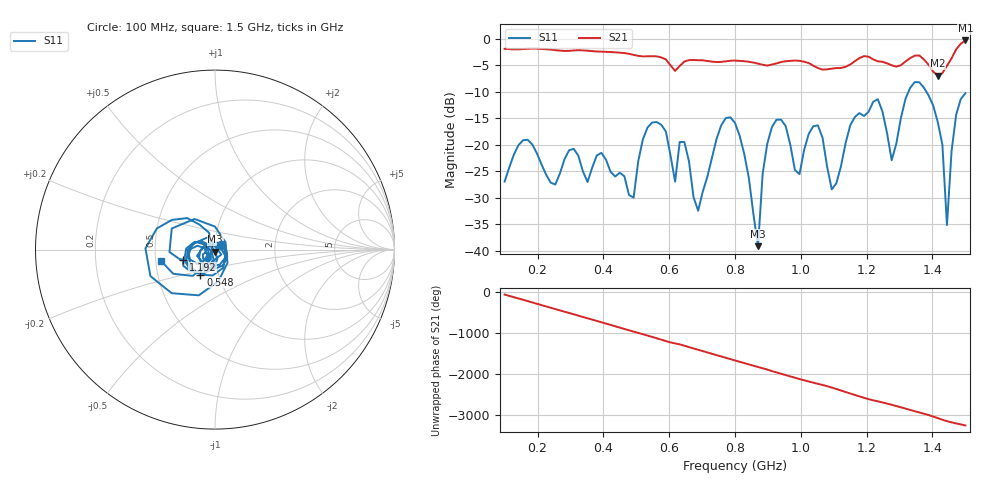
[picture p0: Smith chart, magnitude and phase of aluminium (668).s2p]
! NanoVNA-App
! Date: 2025-09-25 15:00:28
! Start: 100MHz Stop: 1,5GHz Points: 101
! S-Parameter data: F S11 S21 S12 S22
# Hz S RI R 50
!  Frequency  S11_Real  S11_Imag  S21_Real  S21_Imag  S12_Real  S12_Imag  S22_Real  S22_Imag
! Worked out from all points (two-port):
!   101 points, 100 MHz to 1.5 GHz, reference 50 ohm
!   highest |S21| = -0.35 dB at 1.5 GHz (marker M1); lowest = -7.0 dB at 1.416 GHz (marker M2)
!   |S21| within 3 dB of the highest: start of sweep to 519.3 MHz; 1.461 GHz to end of sweep (the widest 2 of 5)
!   lowest |S11| = -39.1 dB at 870 MHz (marker M3), VSWR 1.02, Z = 50.1 - j1.1 ohm
!   |S11| at or under -10 dB: start of sweep to 1.327 GHz; 1.381 GHz to end of sweep
!   S12 and S22 are empty: the file has one direction only
!   S11 on the Smith chart (normalised r, x): 100 MHz: 1.07, +0.06; 548 MHz: 0.82, -0.23; 1.192 GHz: 0.69, -0.08; 1.5 GHz: 0.54, -0.08
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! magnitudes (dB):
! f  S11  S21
! 100 MHz  -27.0  -1.9
! 156 MHz  -19.2  -2.0
! 338 MHz  -25.0  -2.2
! 492 MHz  -30.0  -3.1
! 548 MHz  -15.8  -3.3
! 576 MHz  -16.3  -3.5
! 646 MHz  -19.5  -4.3
! 688 MHz  -32.5  -4.1
! 800 MHz  -15.9  -4.1
! 870 MHz  -39.1  -4.7
! 912 MHz  -16.7  -4.9
! 996 MHz  -25.6  -4.2
! 1.038 GHz  -16.5  -5.1
! 1.094 GHz  -28.4  -5.7
! 1.192 GHz  -14.6  -3.3
! 1.234 GHz  -11.4  -4.3
! 1.276 GHz  -22.9  -5.0
! 1.346 GHz  -8.2  -3.2
! 1.416 GHz  -15.7  -7.0
! 1.444 GHz  -35.2  -5.1
! 1.472 GHz  -14.3  -2.0
! 1.5 GHz  -10.3  -0.4
